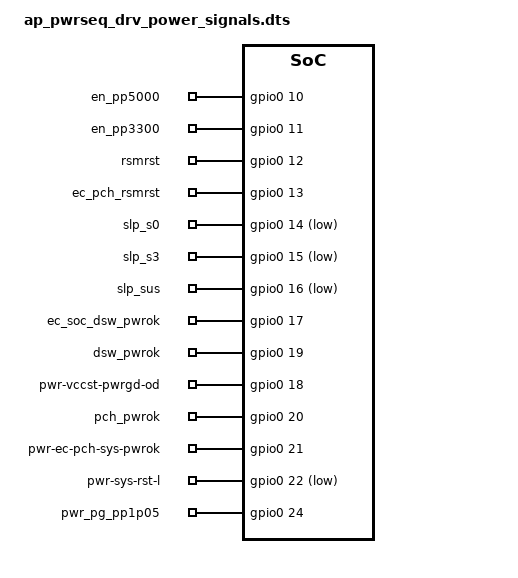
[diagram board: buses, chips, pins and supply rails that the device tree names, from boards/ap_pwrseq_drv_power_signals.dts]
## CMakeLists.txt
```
# Copyright 2025 The ChromiumOS Authors
# Use of this source code is governed by a BSD-style license that can be
# found in the LICENSE file.

cmake_minimum_required(VERSION 3.13.1)
find_package(Zephyr REQUIRED HINTS "${ZEPHYR_BASE}")
project(dirks)

add_subdirectory(${PLATFORM_EC}/zephyr/test/test_utils test_utils)

zephyr_include_directories(
        "${PLATFORM_EC_PROGRAM_DIR}/dirks/include"
        include)

target_sources(app PRIVATE src/stubs.c)

if(CONFIG_TEST_DIRKS_BOARD_POWER)
    # Test source
    if(CONFIG_AP_PWRSEQ_DRIVER)
        target_sources(app PRIVATE src/board_ap_pwrseq_drv.c)
    else()
        target_sources(app PRIVATE src/board_power.c)
    endif()
    # Module under test
    target_sources(app PRIVATE ${PLATFORM_EC_PROGRAM_DIR}/dirks/src/board_power.c)
endif()

target_sources_ifdef(
        CONFIG_TEST_DIRKS_SUB_BOARD
        app PRIVATE
        src/sub_board.c
        src/log_module.c
        ${PLATFORM_EC_PROGRAM_DIR}/dirks/src/sub_board.c)

target_sources_ifdef(
        CONFIG_TEST_DIRKS_COMMON
        app PRIVATE
        src/common.c
        ${PLATFORM_EC_PROGRAM_DIR}/dirks/src/common.c)

if(CONFIG_TEST_DIRKS_DIRKS)
    zephyr_include_directories("${PLATFORM_EC_PROGRAM_DIR}/dirks/dirks/include")
    target_sources(
            app PRIVATE
            src/dirks.c
            ${PLATFORM_EC_PROGRAM_DIR}/dirks/dirks/src/barrel_jack.c
            ${PLATFORM_EC_PROGRAM_DIR}/dirks/dirks/src/led.c
            ${PLATFORM_EC_PROGRAM_DIR}/dirks/dirks/src/hdmi.c
            ${PLATFORM_EC_PROGRAM_DIR}/dirks/dirks/src/usbc.c
    )
endif()
```

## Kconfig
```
# Copyright 2025 The ChromiumOS Authors
# Use of this source code is governed by a BSD-style license that can be
# found in the LICENSE file.

choice TEST_TARGET
	prompt "Select test target to build"
	help
	  Select the build target for a given test. Each test target must select
	  exactly one, because some tests assume configuration that conflicts with
	  others.

	config TEST_DIRKS_SUB_BOARD
		bool "Tests for sub_board.c"
		help
		  The test target that exercises dirks/src/sub_board.c.

	config TEST_DIRKS_BOARD_POWER
		bool "Tests for board_power.c"
		help
		  The test target that exercises dirks/src/board_power.c

	config TEST_DIRKS_COMMON
		bool "Tests for common.c"
		help
		  The test target that exercises dirks/src/common.c.

	config TEST_DIRKS_DIRKS
	  bool "Tests for Dirks-specific code"
	  select TEST_DISABLE_INLINE_CHIPSET_IN_STATE
	  help
		The test target that exercises dirks/dirks/*.c
endchoice

config TEST_DISABLE_INLINE_CHIPSET_IN_STATE
	bool "Disable chipset_in_state inline method"
	help
	  This is used to not define chipset_in_state method as inline
	  function.

config DIRKS_BOARD_HAS_HDMI_SUPPORT
	bool "Board supports HDMI sub-boards"
	help
	  Enable board code for managing the state of hdmi connections
	  for dirks/src/sub_board.c.

config PLATFORM_EC_KEYBOARD_CUSTOMIZATION
	bool "Support keyboard customization"
	help
	  Enable support for customization keyboard, some boards need to custom matrix
	  because those board keyboard layout doesn't follow a common matrix.

	  If define, the board layer
	  needs to implement:
	  1. the scancode_set2 and keycap_label array
	  2. keyboard_customization.h which is similar to keyboard_config.h

	  Note that if your board has the standard chromeos keyboard layout other
	  than the top row, and you are looking only for top row customization,
	  then you should be looking at overriding board_vivaldi_keybd_config()
	  instead.

config PLATFORM_EC_KEYBOARD_DEBUG
	bool "Enable keyboard debug prints"
	help
	  Enable keyboard debug prints to show up in early bringup, for example
	  if the board is currently headless and keyboard functionality is being
	  checked.

config TEST_DISABLE_AP_PWRSEQ
	bool "Disable CONFIG_AP_PWRSEQ"
	default n
	help
	  This is used to disable CONFIG_AP_PWRSEQ for testing purposes
	  directly.

config PLATFORM_EC_DEDICATED_CHARGE_PORT
	bool "Dedicated charging port"
	help
	  Enable if there is a dedicated charging port on the system.

module = DIRKS
module-str = Dirks board-specific code (unit tests)
source "subsys/logging/Kconfig.template.log_config"

source "Kconfig.zephyr"
```

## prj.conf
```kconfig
# Copyright 2025 The ChromiumOS Authors
# Use of this source code is governed by a BSD-style license that can be
# found in the LICENSE file.

CONFIG_ZTEST=y
CONFIG_ZTEST_ASSERT_VERBOSE=1
CONFIG_ASSERT=y
CONFIG_EMUL=y

CONFIG_CROS_EC=y
CONFIG_PLATFORM_EC=y

# Configuration used for Dirks boards, with some items that aren't relevant
# disabled so they don't depend on us defining items they want.
CONFIG_PLATFORM_EC_USBC=y
CONFIG_PLATFORM_EC_USBC_PPC=n
CONFIG_PLATFORM_EC_USB_MUX_RUNTIME_CONFIG=y
CONFIG_PLATFORM_EC_USB_PD_DISCHARGE=n
CONFIG_PLATFORM_EC_USB_CHARGER=n
CONFIG_PLATFORM_EC_USB_PD_HOST_CMD=n
CONFIG_PLATFORM_EC_USB_PORT_ENABLE_DYNAMIC=y
CONFIG_PLATFORM_EC_SWITCH=n

# Allow the test fixture to use k_malloc
CONFIG_HEAP_MEM_POOL_SIZE=1024

CONFIG_GPIO_GET_CONFIG=y

CONFIG_ISL923X_MOCK=y
```

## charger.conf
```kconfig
# Copyright 2025 The ChromiumOS Authors
# Use of this source code is governed by a BSD-style license that can be
# found in the LICENSE file.

# Additional configuration for emulated Dirks boards where tests require
# charger-related code.

CONFIG_PLATFORM_EC_HOSTCMD=y
CONFIG_PLATFORM_EC_CHARGER=y
CONFIG_PLATFORM_EC_OCPC=y
CONFIG_PLATFORM_EC_CHARGER_SM5803=y
CONFIG_PLATFORM_EC_CHARGER_RAA489000=y
CONFIG_PLATFORM_EC_CHARGER_SENSE_RESISTOR=10
CONFIG_PLATFORM_EC_CHARGER_SENSE_RESISTOR_AC=10
CONFIG_PLATFORM_EC_OCPC_DEF_RBATT_MOHMS=22
CONFIG_PLATFORM_EC_CONSOLE_CMD_CHARGER_ADC_AMON_BMON=n
CONFIG_PLATFORM_EC_USB_PD_VBUS_MEASURE_CHARGER=y
CONFIG_PLATFORM_EC_BACKLIGHT_LID=n
CONFIG_PLATFORM_EC_BATTERY_FUEL_GAUGE=y
# charger_get_system_power() in RAA489000 driver
CONFIG_PLATFORM_EC_CHARGER_PSYS_READ=n
CONFIG_PLATFORM_EC_USB_PD_MAX_VOLTAGE_MV=15000
CONFIG_PLATFORM_EC_VBOOT_HASH=n
```

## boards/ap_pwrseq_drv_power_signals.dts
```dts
/* Copyright 2025 The ChromiumOS Authors
 * Use of this source code is governed by a BSD-style license that can be
 * found in the LICENSE file.
 */

/ {
	common-pwrseq {
		compatible = "intel,ap-pwrseq";

		sys-pwrok-delay = <10>;
		all-sys-pwrgd-timeout = <20>;
	};

	named-gpios {
		compatible = "named-gpios";
		gpio_all_sys_pwrgd: all_sys_pwrgd {
			gpios = <&gpioa 3 GPIO_INPUT>;
		};
	};
	en_pp5000: pwr-en-pp5000-s5 {
		compatible = "intel,ap-pwrseq-gpio";
		dbg-label = "PP5000_S5 enable output to regulator";
		enum-name = "PWR_EN_PP5000_A";
		gpios = <&gpio0 10 0>;
		output;
	};
	en_pp3300: pwr-en-pp3300-s5 {
		compatible = "intel,ap-pwrseq-gpio";
		dbg-label = "PP3300_S5 enable output to LS";
		enum-name = "PWR_EN_PP3300_A";
		gpios = <&gpio0 11 0>;
		output;
	};
	rsmrst: pwr-pg-ec-rsmrst-odl {
		compatible = "intel,ap-pwrseq-gpio";
		dbg-label = "RSMRST power good from regulator";
		enum-name = "PWR_RSMRST_PWRGD";
		gpios = <&gpio0 12 0>;
	};
	ec_pch_rsmrst: pwr-ec-pch-rsmrst-odl {
		compatible = "intel,ap-pwrseq-gpio";
		dbg-label = "RSMRST output to PCH";
		enum-name = "PWR_EC_PCH_RSMRST";
		gpios = <&gpio0 13 0>;
		output;
	};
	slp_s0: pwr-slp-s0-l {
		compatible = "intel,ap-pwrseq-gpio";
		dbg-label = "SLP_S0_L input from PCH";
		enum-name = "PWR_SLP_S0";
		gpios = <&gpio0 14 GPIO_ACTIVE_LOW>;
		no-enable;
	};
	slp_s3: pwr-slp-s3-l {
		compatible = "intel,ap-pwrseq-gpio";
		dbg-label = "SLP_S3_L input from PCH";
		enum-name = "PWR_SLP_S3";
		gpios = <&gpio0 15 GPIO_ACTIVE_LOW>;
	};
	slp_sus: pwr-slp-sus-l {
		compatible = "intel,ap-pwrseq-gpio";
		dbg-label = "SLP_SUS_L input from PCH";
		enum-name = "PWR_SLP_SUS";
		gpios = <&gpio0 16 GPIO_ACTIVE_LOW>;
	};
	ec_soc_dsw_pwrok: pwr-ec-soc-dsw-pwrok {
		compatible = "intel,ap-pwrseq-gpio";
		dbg-label = "DSW_PWROK output to PCH";
		enum-name = "PWR_EC_SOC_DSW_PWROK";
		gpios = <&gpio0 17 0>;
		output;
	};
	dsw_pwrok: pwr-pp3300-pwrok {
		compatible = "intel,ap-pwrseq-gpio";
		dbg-label = "PP3300 PWROK";
		enum-name = "PWR_DSW_PWROK";
		gpios = <&gpio0 19 0>;
	};
	pwr-vccst-pwrgd-od {
		compatible = "intel,ap-pwrseq-gpio";
		dbg-label = "VCCST_PWRGD output to PCH";
		enum-name = "PWR_VCCST_PWRGD";
		gpios = <&gpio0 18 0>;
		output;
	};
	pch_pwrok: pwr-pch-pwrok {
		compatible = "intel,ap-pwrseq-gpio";
		dbg-label = "PCH_PWROK output to PCH";
		enum-name = "PWR_PCH_PWROK";
		gpios = <&gpio0 20 0>;
		output;
	};
	pwr-ec-pch-sys-pwrok {
		compatible = "intel,ap-pwrseq-gpio";
		dbg-label = "SYS_PWROK output to PCH";
		enum-name = "PWR_EC_PCH_SYS_PWROK";
		gpios = <&gpio0 21 0>;
		output;
	};
	pwr-sys-rst-l {
		compatible = "intel,ap-pwrseq-gpio";
		dbg-label = "SYS_RESET# output to PCH";
		enum-name = "PWR_SYS_RST";
		gpios = <&gpio0 22 GPIO_ACTIVE_LOW>;
		output;
	};
	pwr-all-sys-pwrgd {
		compatible = "intel,ap-pwrseq-external";
		dbg-label = "Combined all power good";
		enum-name = "PWR_ALL_SYS_PWRGD";
	};
	pwr_pg_pp1p05: pwr-pg-pp1p05 {
		compatible = "intel,ap-pwrseq-gpio";
		dbg-label = "PP1P05 PWROK (from ADC)";
		enum-name = "PWR_PG_PP1P05";
		gpios = <&gpio0 24 GPIO_ACTIVE_HIGH>;
	};
	ec_soc_dsw_pwrok_emul_pd: ec-soc-dsw-pwrok-emul-pd {
		compatible = "intel,ap-pwr-signal-emul";
		input-signal = <&ec_soc_dsw_pwrok>;
		init-value = <1>;
		ec-dsw-pwrok-slp-sus-emul {
			output-signal = <&slp_sus>;
			deassert-delay-ms = <5>;
			init-value= <0>;
			invert-value;
		};
	};
	ec_pch_rsmrst_emul_pd: ec-pch-rsmrst-emul-pd {
		compatible = "intel,ap-pwr-signal-emul";
		input-signal = <&ec_pch_rsmrst>;
		init-value = <0>;
		ec-pch-rsmrst-emul {
			output-signal = <&rsmrst>;
			deassert-delay-ms = <5>;
			init-value= <1>;
			invert-value;
		};
	};
	en_pp3300_emul_pd: en-pp3300-emul-pd {
		compatible = "intel,ap-pwr-signal-emul";
		input-signal = <&en_pp3300>;
		init-value = <1>;
		pp3300-dsw-pwrok-emul {
			output-signal = <&dsw_pwrok>;
			deassert-delay-ms = <2>;
			init-value= <1>;
		};
	};
	tp-power-down-ok {
		compatible = "intel,ap-pwr-test-platform";
		nodes = <&ec_soc_dsw_pwrok_emul_pd &ec_pch_rsmrst_emul_pd
				&en_pp3300_emul_pd>;
	};
	en_pp3300_emul_ok: en-pp3300-emul-ok {
		compatible = "intel,ap-pwr-signal-emul";
		input-signal = <&en_pp3300>;
		init-value = <0>;
		pp3300-dsw-pwrok-emul {
			output-signal = <&dsw_pwrok>;
			assert-delay-ms = <10>;
			init-value= <0>;
		};
	};
	tp-power-up-ok {
		compatible = "intel,ap-pwr-test-platform";
		nodes = <&en_pp3300_emul_ok>;
	};
	en_pp3300_emul_fail: en-pp3300-emul-fail {
		compatible = "intel,ap-pwr-signal-emul";
		input-signal = <&en_pp3300>;
		init-value = <0>;
		pp3300-dsw-pwrok-emul {
			output-signal = <&dsw_pwrok>;
			assert-delay-ms = <30000>;
			init-value= <0>;
		};
	};
	tp-power-up-fail {
		compatible = "intel,ap-pwr-test-platform";
		nodes = <&en_pp3300_emul_fail>;
	};
	ec_soc_dsw_pwrok_g3_emul: ec-soc-dsw-prok-g3-emul {
		compatible = "intel,ap-pwr-signal-emul";
		input-signal = <&ec_soc_dsw_pwrok>;
		init-value= <1>;
		edge = "EDGE_ACTIVE_ON_DEASSERT";
		ec-soc-dsw-prok-dsw-pwrok-emul {
			output-signal = <&dsw_pwrok>;
			init-value= <1>;
			deassert-delay-ms = <2>;
		};
		ec-soc-dsw-prok-rsmrst-emul {
			output-signal = <&rsmrst>;
			init-value= <1>;
			deassert-delay-ms = <1>;
		};
		ec-soc-dsw-prok-slp-sus-emul {
			output-signal = <&slp_sus>;
			init-value= <0>;
			invert-value;
			deassert-delay-ms = <1>;
		};
	};
	tp-s0-to-g3 {
		compatible = "intel,ap-pwr-test-platform";
		nodes = <&ec_soc_dsw_pwrok_g3_emul>;
	};
	ap-power {
		compatible = "ap-pwrseq-sub-states";
		chipset = "AP_POWER_STATE_S0IX";
	};
	gpio-interrupts {
		/delete-node/ int_usb_c0;
		/delete-node/ int_usb_c1;
	};
};

&gpio0 {
	ngpios = <28>;
};
```

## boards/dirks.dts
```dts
/* Copyright 2023 The ChromiumOS Authors
 * Use of this source code is governed by a BSD-style license that can be
 * found in the LICENSE file.
 */
 
#include <dt-bindings/pwm/pwm.h>
#include <it8xxx2_emul.dts>

/ {
	named-adc-channels {
		compatible = "named-adc-channels";

		adc_ppvar_pwr_in_imon: ppvar_pwr_in_imon {
			enum-name = "ADC_PPVAR_PWR_IN_IMON";
			io-channels = <&adc0 15>;
		};
	};

	named-gpios {
		compatible = "named-gpios";

		gpio_ec_entering_rw: ec_entering_rw {
			gpios = <&gpioc 7 GPIO_OUTPUT>;
			enum-name = "GPIO_ENTERING_RW";
		};
		gpio_usb_c0_fault_l: usb_c0_fault_l {
			gpios = <&gpiok 0 GPIO_INPUT_PULL_UP>;
		};
		gpio_bj_adp_present: bj_adp_present {
			gpios = <&gpioa 7 GPIO_INPUT>;
		};
		gpio_en_ppvar_bj_adp_od: en_ppvar_bj_adp_od {
			gpios = <&gpioe 3 GPIO_OUTPUT>;
		};
	};

	gpio-interrupts {
		compatible = "cros-ec,gpio-interrupts";

		int_usb_c0: usb_c0 {
			irq-pin = <&gpio_usb_c0_fault_l>;
			flags = <GPIO_INT_EDGE_FALLING>;
			handler = "syv682x_interrupt";
		};
		int_bj_adp_present: bj_adp_present {
			irq-pin = <&gpio_bj_adp_present>;
			flags = <GPIO_INT_EDGE_BOTH>;
			handler = "adp_connect_interrupt";
		};
	};


	named-i2c-ports {
		compatible = "named-i2c-ports";

		i2c_ec_i2c_usb_c0: ec_i2c_usb_c0 {
			i2c-port = <&i2c2>;
			enum-names = "I2C_PORT_USB_C0";
		};
	};

	usbc {
		#address-cells = <1>;
		#size-cells = <0>;
		port0@0 {
			compatible = "named-usbc-port";
			reg = <0>;
			tcpc = <&tcpci_emul_0>;
			usb-mux-chain-0 {
				compatible = "cros-ec,usb-mux-chain";
				usb-muxes = <&virtual_mux_0>;
			};
		};
		port0-muxes {
			virtual_mux_0: virtual-mux-0 {
				compatible = "cros-ec,usbc-mux-virtual";
			};
		};
	};

	led-pwms {
		#address-cells = <1>;
		#size-cells = <1>;

		pwm1: pwm@1 {
			compatible = "cros,pwm-mock";
			reg = <1 1>;
			#pwm-cells = <3>;
		};
		pwm2: pwm@2 {
			compatible = "cros,pwm-mock";
			reg = <2 1>;
			#pwm-cells = <3>;
		};
	};

	pwmleds {
		compatible = "pwm-leds";
		pwm_pwr_red_led: pwm_pwr_red_led {
			pwms = <&pwm1 1 PWM_HZ(2000) PWM_POLARITY_INVERTED>;
		};
		pwm_pwr_white_led: pwm_pwr_white_led {
			pwms = <&pwm2 2 PWM_HZ(2000) PWM_POLARITY_INVERTED>;
		};
	};

	cros-pwmleds {
		compatible = "cros-ec,pwm-leds";

		leds = <&pwm_pwr_red_led>;
		leds = <&pwm_pwr_white_led>;
	};

	pwm-led-pins {
		compatible = "cros-ec,pwm-led-pins";

		power_led: power-led {
			led-id = "EC_LED_ID_POWER_LED";
			led-pwms = <&pwm_pwr_red_led &pwm_pwr_white_led>;

			color-battery-off {
				led-color = "LED_OFF";
				led-values = <0 0>;
			};

			color-battery-amber {
				led-color = "LED_AMBER";
				led-values = <100 0>;
			};

			color-battery-white {
				led-color = "LED_WHITE";
				led-values = <0 100>;
			};
		};
	};
};

&i2c4 {
	tcpci_emul_0: tcpci_emul@82 {
		compatible = "cros,tcpci-generic-emul";
		status = "okay";
		reg = <0x82>;
	};
};
```

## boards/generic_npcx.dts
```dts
/* Copyright 2025 The ChromiumOS Authors
 * Use of this source code is governed by a BSD-style license that can be
 * found in the LICENSE file.
 *
 * Device tree for a generic Nissa device based on a NPCX EC, suitable for board
 * unit tests.
 */
#include <npcx_emul.dts>
#include "../program/dirks/cbi.dtsi"

/ {
	aliases {
		/* type-C */
		gpio-usb-c1-int-odl = &gpio_sb_1;
		/* type-A */
		gpio-en-usb-a1-vbus = &gpio_sb_2;
		/* HDMI */
		gpio-en-rails-odl = &gpio_sb_1;
		gpio-hdmi-en-odl = &gpio_sb_3;
		gpio-hpd-odl = &gpio_sb_4;
		/* LTE */
		gpio-en-sub-s5-rails = &gpio_sb_2;

		gpio-wp = &gpio_ec_wp_odl;
	};

	gpio-interrupts {
		compatible = "cros-ec,gpio-interrupts";

		int_usb_c0: usb_c0 {
			irq-pin = <&gpio_usb_c0_int_odl>;
			flags = <GPIO_INT_EDGE_FALLING>;
			handler = "usb_interrupt_c0";
		};

		int_usb_c1: usb_c1 {
			irq-pin = <&gpio_sb_1>;
			flags = <GPIO_INT_EDGE_FALLING>;
			handler = "usb_interrupt_c1";
		};
	};

	named-gpios {
		compatible = "named-gpios";

		gpio_ec_soc_dsw_pwrok: ec_soc_dsw_pwrok {
			gpios = <&gpio6 1 GPIO_OUTPUT>;
		};

		gpio_ec_soc_hdmi_hpd: ec_soc_hdmi_hpd {
			gpios = <&gpioe 4 GPIO_OUTPUT>;
		};

		gpio_ec_wp_odl: ec_wp_odl {
			gpios = <&gpioa 1 (GPIO_INPUT | GPIO_ACTIVE_LOW)>;
		};

		entering_rw {
			gpios = <&gpio0 3 GPIO_OUTPUT>;
			enum-name = "GPIO_ENTERING_RW";
		};

		gpio_en_pp5000_pen_x: en_pp5000_pen_x {
			gpios = <&gpioe 2 GPIO_OUTPUT>;
		};

		gpio_en_slp_z: en_slp_z {
			gpios = <&gpioe 1 GPIO_OUTPUT>;
		};

		gpio_hdmi_sel: hdmi_sel {
			gpios = <&gpioc 6 GPIO_OUTPUT>;
		};

		gpio_usb_a0_enable: usb_a0_enable {
			gpios = <&gpio1 0 GPIO_OUTPUT>;
		};

		gpio_usb_a0_ilimit_sdp: usb_a0_ilimit_sdp {
			gpios = <&gpio1 2 GPIO_OUTPUT>;
			enum-name = "GPIO_USB1_ILIM_SEL";
		};

		gpio_sub_usb_a1_ilimit_sdp: usb_a1_ilimit_sdp {
			gpios = <&gpio1 3 GPIO_OUTPUT>;
			enum-name = "GPIO_USB2_ILIM_SEL";
		};

		gpio_usb_c0_int_odl: usb_c0_int_odl {
			gpios = <&gpio0 1 GPIO_INPUT_PULL_UP>;
		};

		gpio_sb_1: sb-1 {
			gpios = <&gpio0 2 GPIO_PULL_UP>;
			no-auto-init;
		};

		gpio_sb_2: sb-2 {
			gpios = <&gpiod 4 GPIO_OUTPUT>;
			no-auto-init;
		};

		gpio_sb_3: sb-3 {
			gpios = <&gpiof 4 0>;
			no-auto-init;
		};

		gpio_sb_4: sb-4 {
			gpios = <&gpiof 5 GPIO_INPUT>;
			no-auto-init;
		};
	};

	named-i2c-ports {
		compatible = "named-i2c-ports";
		i2c_ec_i2c_usb_c0: ec_i2c_usb_c0 {
			i2c-port = <&i2c_ctrl0>;
			enum-names = "I2C_PORT_USB_C0_TCPC";
		};
		i2c_ec_i2c_sub_usb_c1: ec_i2c_sub_usb_c1 {
			i2c-port = <&i2c_ctrl1>;
			enum-names = "I2C_PORT_USB_C1_TCPC";
		};
	};

	usba {
		compatible = "cros-ec,usba-port-enable-pins";
		enable-pins = <&gpio_usb_a0_enable &gpio_sb_2>;
		status = "okay";
	};

	usbc {
		#address-cells = <1>;
		#size-cells = <0>;
		port0@0 {
			compatible = "named-usbc-port";
			reg = <0>;
			tcpc = <&tcpc_port0>;
			usb-mux-chain-0 {
				compatible = "cros-ec,usb-mux-chain";
				usb-muxes = <&virtual_mux_0>;
			};
		};
		port1@1 {
			compatible = "named-usbc-port";
			reg = <1>;
			tcpc = <&tcpc_port1>;
			usb-mux-chain-1 {
				compatible = "cros-ec,usb-mux-chain";
				usb-muxes = <&virtual_mux_1>;
			};
			usb_mux_chain_1_no_mux: usb-mux-chain-1-alternate {
				compatible = "cros-ec,usb-mux-chain";
				alternative-chain;
				usb-muxes = <&virtual_mux_1>;
			};
		};
		port0-muxes {
			virtual_mux_0: virtual-mux-0 {
				compatible = "cros-ec,usbc-mux-virtual";
			};
		};
		port1-muxes {
			virtual_mux_1: virtual-mux-1 {
				compatible = "cros-ec,usbc-mux-virtual";
			};
		};
	};
};

&i2c_ctrl0 {
	tcpc_port0: tcpci_emul@82 {
		compatible = "cros,tcpci-generic-emul";
		status = "okay";
		reg = <0x82>;
	};
};

&i2c_ctrl1 {
	tcpc_port1: tcpci_emul@84 {
		compatible = "cros,tcpci-generic-emul";
		status = "okay";
		reg = <0x84>;
	};
};
```

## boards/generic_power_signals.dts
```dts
/* Copyright 2025 The ChromiumOS Authors
 * Use of this source code is governed by a BSD-style license that can be
 * found in the LICENSE file.
 */

/ {
	gpio-interrupts {
	  /*
	   * GPIO interrupt shim fails to build if this node exists but has no
	   * interrupts, and this test doesn't use any GPIO interrupts.
	   */
	  status = "disabled";
	};

	/* A fake GPIO bank for all of the power signals. */
	gpio_pwr: gpio@1000 {
		status = "okay";
		compatible = "zephyr,gpio-emul";
		reg = <0x1000 0x4>;
		rising-edge;
		falling-edge;
		high-level;
		low-level;
		gpio-controller;
		#gpio-cells = <2>;
		ngpios = <32>;
	};

	named-gpios {
		gpio_all_sys_pwrgd: all_sys_pwrgd {
			gpios = <&gpioa 7 GPIO_INPUT>;
		};
		gpio_ec_soc_pwr_btn_odl: ec_soc_pwr_btn_odl {
			gpios = <&gpioc 1 GPIO_ODR_HIGH>;
			enum-name = "GPIO_PCH_PWRBTN_L";
		};
		gpio_gsc_ec_pwr_btn_odl: gsc_ec_pwr_btn_odl {
			gpios = <&gpio0 0 GPIO_INPUT_PULL_UP>;
			enum-name = "GPIO_POWER_BUTTON_L";
		};
	};

	common-pwrseq {
		compatible = "intel,ap-pwrseq";

		sys-pwrok-delay = <10>;
		all-sys-pwrgd-timeout = <20>;
	};

	ps_en_pp5000_s5: pwr-en-pp5000-s5 {
		compatible = "intel,ap-pwrseq-external";
		dbg-label = "PP5000_S5 enable output to regulator";
		enum-name = "PWR_EN_PP5000_A";
	};
	pwr-adc-pp3300 {
		compatible = "intel,ap-pwrseq-external";
		dbg-label = "PP3300 PWROK";
		enum-name = "PWR_DSW_PWROK";
	};
	ps_ec_soc_dsw_pwrok: pwr-ec-soc-dsw-pwrok {
		compatible = "intel,ap-pwrseq-external";
		dbg-label = "DSW_PWROK output to PCH";
		enum-name = "PWR_EC_SOC_DSW_PWROK";
	};
	pwr-adc-pp1p05 {
		compatible = "intel,ap-pwrseq-external";
		dbg-label = "PP1P05 PWROK";
		enum-name = "PWR_PG_PP1P05";
	};
	pwr-ec-pch-rsmrst-odl {
		compatible = "intel,ap-pwrseq-external";
		dbg-label = "RSMRST output to PCH";
		enum-name = "PWR_EC_PCH_RSMRST";
	};
	ps_rsmrst_in: pwr-pg-ec-rsmrst-od {
		compatible = "intel,ap-pwrseq-external";
		dbg-label = "RSMRST power good from regulator";
		enum-name = "PWR_RSMRST_PWRGD";
	};
	pwr-slp-s3-l {
		compatible = "intel,ap-pwrseq-external";
		dbg-label = "SLP_S3_L input from PCH";
		enum-name = "PWR_SLP_S3";
	};
	pwr-slp-sus-l {
		compatible = "intel,ap-pwrseq-external";
		dbg-label = "SLP_SUS_L input from PCH";
		enum-name = "PWR_SLP_SUS";
	};
	ps_en_pp3300_a: pwr-en-pp3300-s5 {
		compatible = "intel,ap-pwrseq-external";
		dbg-label = "PP3300_S5 enable output to LS";
		enum-name = "PWR_EN_PP3300_A";
	};
	pwr-pch-pwrok {
		compatible = "intel,ap-pwrseq-external";
		dbg-label = "PCH_PWROK output to PCH";
		enum-name = "PWR_PCH_PWROK";
	};
	pwr-all-sys-pwrgd {
		compatible = "intel,ap-pwrseq-external";
		dbg-label = "Combined all power good";
		enum-name = "PWR_ALL_SYS_PWRGD";
	};
};

&int_usb_c0 {
	status = "disabled";
};

&int_usb_c1 {
	status = "disabled";
};
```

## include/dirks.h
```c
/* Copyright 2025 The ChromiumOS Authors
 * Use of this source code is governed by a BSD-style license that can be
 * found in the LICENSE file.
 */

#ifndef ZEPHYR_TEST_DIRKS_INCLUDE_DIRKS_H_
#define ZEPHYR_TEST_DIRKS_INCLUDE_DIRKS_H_

#include "ec_commands.h"

enum led_color {
	LED_OFF = 0,
	LED_WHITE,
	LED_RED,
	/* Number of colors, not a color itself */
	LED_COLOR_COUNT
};

int command_led(int argc, const char **argv);
void board_bj_init(void);

#endif /* ZEPHYR_TEST_DIRKS_INCLUDE_DIRKS_H_ */
```

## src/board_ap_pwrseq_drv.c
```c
/* Copyright 2025 The ChromiumOS Authors
 * Use of this source code is governed by a BSD-style license that can be
 * found in the LICENSE file.
 *
 * AP Power sequence driver unit tests for program/dirks/src/board_power.c.
 * Dirks only has action handlers for power state G3 and S0.
 */
#include "ap_power/ap_power.h"
#include "emul/emul_power_signals.h"

#include <zephyr/drivers/gpio/gpio_emul.h>
#include <zephyr/ztest.h>

#include <ap_power/ap_pwrseq_sm.h>
#include <ap_power_override_functions.h>
#include <common.h>
#include <power_signals.h>

int chipset_s0_run_count;

static void setup_test(void *fixture)
{
	power_signal_init();
}

static void after_test(void *fixture)
{
	power_signal_emul_unload();
	chipset_s0_run_count = 0;
}

ZTEST_SUITE(dirks_board_power, NULL, setup_test, NULL, after_test, NULL);

/*
 * @brief TestPurpose: Check G3 power state entry.
 *
 * @details
 * Ensure that AP power sequence driver is not initialized until
 * `ap_pwrseq_start` is called and G3 entry sets power signals properly.
 *
 * Expected Results:
 * - AP power sequence driver is not started.
 * - `ap_pwrseq_start` starts AP power sequence driver.
 * - G3 action handler is called and power signals are set as expected.
 */
ZTEST(dirks_board_power, test_board_ap_power_g3_run_0)
{
	const struct device *dev = ap_pwrseq_get_instance();

	zassert_equal(0,
		      power_signal_emul_load(EMUL_POWER_SIGNAL_TEST_PLATFORM(
			      tp_power_down_ok)),
		      "Unable to load test platform `tp_power_down_ok`");
	zassert_equal(0, power_signal_get(PWR_SLP_SUS));
	zassert_equal(1, power_signal_get(PWR_RSMRST_PWRGD));
	zassert_equal(1, power_signal_get(PWR_EN_PP3300_A));
	zassert_equal(1, power_signal_get(PWR_EC_SOC_DSW_PWROK));
	zassert_equal(0, power_signal_get(PWR_EC_PCH_RSMRST));
	zassert_ok(ap_pwrseq_start(dev, AP_POWER_STATE_G3),
		   "Driver already initialized");
	zassert_equal(1, power_signal_get(PWR_SLP_SUS));
	zassert_equal(0, power_signal_get(PWR_RSMRST_PWRGD));
	zassert_equal(0, power_signal_get(PWR_EN_PP3300_A));
	zassert_equal(0, power_signal_get(PWR_EC_SOC_DSW_PWROK));
	zassert_equal(1, power_signal_get(PWR_EC_PCH_RSMRST));
}

/*
 * @brief TestPurpose: Check G3 power handler response.
 *
 * @details
 * G3 action handler does not respond to `AP_PWRSEQ_EVENT_POWER_SIGNAL` event.
 *
 * Expected Results:
 * - Current power state is G3.
 * - G3 action handler does not modify power signals when event
 * `AP_PWRSEQ_EVENT_POWER_SIGNAL` is posted.
 */
ZTEST(dirks_board_power, test_board_ap_power_g3_run_1)
{
	const struct device *dev = ap_pwrseq_get_instance();

	zassert_equal(0,
		      power_signal_emul_load(
			      EMUL_POWER_SIGNAL_TEST_PLATFORM(tp_power_up_ok)),
		      "Unable to load test platform `tp_power_up_ok`");

	zassert_equal(ap_pwrseq_get_current_state(dev), AP_POWER_STATE_G3);
	zassert_equal(0, power_signal_get(PWR_EN_PP3300_A));
	zassert_equal(0, power_signal_get(PWR_EN_PP5000_A));
	zassert_equal(0, power_signal_get(PWR_DSW_PWROK));
	ap_pwrseq_post_event(dev, AP_PWRSEQ_EVENT_POWER_SIGNAL);
	zassert_equal(ap_pwrseq_get_current_state(dev), AP_POWER_STATE_G3);
	zassert_equal(0, power_signal_get(PWR_EN_PP3300_A));
	zassert_equal(0, power_signal_get(PWR_EN_PP5000_A));
	zassert_equal(0, power_signal_get(PWR_DSW_PWROK));
}

/*
 * @brief TestPurpose: Check G3 power handler response.
 *
 * @details
 * G3 action handler set power signals when `AP_PWRSEQ_EVENT_POWER_STARTUP`
 * event is posted.
 *
 * Expected Results:
 * - Current power state is G3.
 * - G3 action handler sets power signals properly when event
 * `AP_PWRSEQ_EVENT_POWER_STARTUP` is posted.
 */
ZTEST(dirks_board_power, test_board_ap_power_g3_run_2)
{
	const struct device *dev = ap_pwrseq_get_instance();

	zassert_equal(0,
		      power_signal_emul_load(EMUL_POWER_SIGNAL_TEST_PLATFORM(
			      tp_power_up_fail)),
		      "Unable to load test platform `tp_power_up_fail`");

	zassert_equal(ap_pwrseq_get_current_state(dev), AP_POWER_STATE_G3);
	zassert_equal(0, power_signal_get(PWR_EN_PP3300_A));
	zassert_equal(0, power_signal_get(PWR_EN_PP5000_A));
	zassert_equal(0, power_signal_get(PWR_DSW_PWROK));
	ap_pwrseq_post_event(dev, AP_PWRSEQ_EVENT_POWER_STARTUP);
	zassert_equal(1, power_signal_get(PWR_EN_PP3300_A));
	zassert_equal(1, power_signal_get(PWR_EN_PP5000_A));
	zassert_equal(0, power_signal_get(PWR_DSW_PWROK));
	zassert_equal(ap_pwrseq_get_current_state(dev), AP_POWER_STATE_G3);
}

/*
 * @brief TestPurpose: Check G3 power handler response.
 *
 * @details
 * G3 action handler set power signals when `AP_PWRSEQ_EVENT_POWER_STARTUP`
 * event is posted.
 *
 * Expected Results:
 * - Current power state is G3.
 * - G3 action handler sets power signals properly when event
 * `AP_PWRSEQ_EVENT_POWER_STARTUP` is posted.
 * - G3 action handler verifies power signals are set.
 */
ZTEST(dirks_board_power, test_board_ap_power_g3_run_3)
{
	const struct device *dev = ap_pwrseq_get_instance();

	zassert_equal(0,
		      power_signal_emul_load(
			      EMUL_POWER_SIGNAL_TEST_PLATFORM(tp_power_up_ok)),
		      "Unable to load test platform `tp_power_up_ok`");

	zassert_equal(ap_pwrseq_get_current_state(dev), AP_POWER_STATE_G3);
	zassert_equal(0, power_signal_get(PWR_EN_PP3300_A));
	zassert_equal(0, power_signal_get(PWR_DSW_PWROK));
	ap_pwrseq_post_event(dev, AP_PWRSEQ_EVENT_POWER_STARTUP);
	zassert_equal(1, power_signal_get(PWR_EN_PP3300_A));
	zassert_equal(1, power_signal_get(PWR_DSW_PWROK));
	zassert_equal(ap_pwrseq_get_current_state(dev), AP_POWER_STATE_S3);
}

/*
 * @brief TestPurpose: Check S0 power handler response.
 *
 * @details
 * Since S0 action handler for Dirks does notdo any power signal check, this
 * test will only check G3 entry.
 *
 * Expected Results:
 * - Current power state is S3.
 * - S0 action handler is called.
 * - G3 action handler entry sets power signals properly when event
 * `AP_PWRSEQ_EVENT_POWER_SHUTDOWN` is posted.
 * - G3 action handler verifies power signals are set.
 */
ZTEST(dirks_board_power, test_board_ap_power_s0_run_0)
{
	const struct device *dev = ap_pwrseq_get_instance();

	zassert_equal(0,
		      power_signal_emul_load(
			      EMUL_POWER_SIGNAL_TEST_PLATFORM(tp_s0_to_g3)),
		      "Unable to load test platform `tp_s0_to_s3`");

	zassert_equal(ap_pwrseq_get_current_state(dev), AP_POWER_STATE_S3);
	ap_pwrseq_post_event(dev, AP_PWRSEQ_EVENT_POWER_SIGNAL);
	zassert_equal(ap_pwrseq_get_current_state(dev), AP_POWER_STATE_S0);
	zassert_equal(chipset_s0_run_count, 1);

	zassert_equal(0, power_signal_get(PWR_SLP_SUS));
	zassert_equal(1, power_signal_get(PWR_RSMRST_PWRGD));
	zassert_equal(1, power_signal_get(PWR_DSW_PWROK));
	ap_pwrseq_post_event(dev, AP_PWRSEQ_EVENT_POWER_SHUTDOWN);
	zassert_equal(ap_pwrseq_get_current_state(dev), AP_POWER_STATE_G3);
	zassert_equal(chipset_s0_run_count, 2);

	zassert_equal(1, power_signal_get(PWR_SLP_SUS));
	zassert_equal(0, power_signal_get(PWR_RSMRST_PWRGD));
	zassert_equal(0, power_signal_get(PWR_DSW_PWROK));
}

/**
 * Supporting functions for test
 **/
static int chipset_ap_power_s0_run(void *data)
{
	chipset_s0_run_count++;
	if (ap_pwrseq_sm_is_event_set(data, AP_PWRSEQ_EVENT_POWER_SHUTDOWN)) {
		return ap_pwrseq_sm_set_state(data, AP_POWER_STATE_G3);
	}
	return 0;
}

AP_POWER_CHIPSET_STATE_DEFINE(AP_POWER_STATE_S0, NULL, chipset_ap_power_s0_run,
			      NULL);

static int chipset_ap_power_s3_run(void *data)
{
	if (ap_pwrseq_sm_is_event_set(data, AP_PWRSEQ_EVENT_POWER_SIGNAL)) {
		return ap_pwrseq_sm_set_state(data, AP_POWER_STATE_S0);
	}

	return 0;
}

AP_POWER_CHIPSET_STATE_DEFINE(AP_POWER_STATE_S3, NULL, chipset_ap_power_s3_run,
			      NULL);

static int chipset_ap_power_g3_run(void *data)
{
	return ap_pwrseq_sm_set_state(data, AP_POWER_STATE_S3);
}

AP_POWER_CHIPSET_STATE_DEFINE(AP_POWER_STATE_G3, NULL, chipset_ap_power_g3_run,
			      NULL);

static int x86_non_dsx_adlp_s0ix_run(void *data)
{
	return 0;
}

AP_POWER_CHIPSET_SUB_STATE_DEFINE(AP_POWER_STATE_S0IX, NULL,
				  x86_non_dsx_adlp_s0ix_run, NULL,
				  AP_POWER_STATE_S0);
```

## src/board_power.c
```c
/* Copyright 2025 The ChromiumOS Authors
 * Use of this source code is governed by a BSD-style license that can be
 * found in the LICENSE file.
 *
 * Unit tests for program/dirks/src/board_power.c.
 */
#include <zephyr/drivers/espi.h>
#include <zephyr/drivers/gpio/gpio_emul.h>
#include <zephyr/fff.h>
#include <zephyr/include/emul/emul_power_signals.h>
#include <zephyr/ztest.h>

#include <ap_power_override_functions.h>
#include <common.h>
#include <mock/ap_power_events.h>
#include <mock/power_signals.h>
#include <power_signals.h>

extern bool s0_stable;

int board_power_signal_get(enum power_signal);
int board_power_signal_set(enum power_signal, int);

FAKE_VOID_FUNC(ap_pwrseq_wake);

LOG_MODULE_REGISTER(ap_pwrseq, LOG_LEVEL_INF);

static void before_test(void *fixture)
{
	RESET_FAKE(power_signal_get);
	RESET_FAKE(power_signal_set);
}

ZTEST_SUITE(dirks_board_power, NULL, NULL, before_test, NULL, NULL);

ZTEST(dirks_board_power, test_power_signal_set)
{
	/* No settable signal is board-defined */
	zassert_equal(board_power_signal_set(PWR_EN_PP3300_A, 1), -EINVAL);
}

ZTEST(dirks_board_power, test_power_signal_get)
{
	const struct gpio_dt_spec *all_sys_pwrgd_in =
		GPIO_DT_FROM_NODELABEL(gpio_all_sys_pwrgd);

	/*
	 * ALL_SYS_PWRGD is asserted when SLP_S3 is deasserted, the
	 * corresponding GPIO is asserted, and PG_PP1P05 is asserted.
	 */
	power_signal_get_fake.return_val_seq = (int[]){ 0, 1 };
	power_signal_get_fake.return_val_seq_len = 2;
	zassert_ok(gpio_emul_input_set(all_sys_pwrgd_in->port,
				       all_sys_pwrgd_in->pin, 1));

	zassert_true(board_power_signal_get(PWR_ALL_SYS_PWRGD));
	zassert_equal(power_signal_get_fake.call_count, 2);
	zassert_equal(power_signal_get_fake.arg0_history[0], PWR_SLP_S3);
	zassert_equal(power_signal_get_fake.arg0_history[1], PWR_PG_PP1P05);

	/* PG_PP1P05 going away causes deassertion */
	power_signal_get_fake.return_val_seq = (int[]){ 0, 0 };
	power_signal_get_fake.return_val_seq_idx = 0;
	zassert_false(board_power_signal_get(PWR_ALL_SYS_PWRGD));

	/* all_sys_pwrgd GPIO going away also causes deassertion */
	power_signal_get_fake.return_val_seq_idx = 0;
	zassert_ok(gpio_emul_input_set(all_sys_pwrgd_in->port,
				       all_sys_pwrgd_in->pin, 0));
	zassert_false(board_power_signal_get(PWR_ALL_SYS_PWRGD));

	/* SLP_S3 being asserted also causes deassertion */
	power_signal_get_fake.return_val = 1;
	power_signal_get_fake.return_val_seq_len = 0;
	zassert_false(board_power_signal_get(PWR_ALL_SYS_PWRGD));

	/* Other signals are invalid */
	zassert_equal(board_power_signal_get(PWR_EN_PP3300_A), -EINVAL);
}

static int fake_get_signal_dsw_pwrok_asserted(enum power_signal signal)
{
	return signal == PWR_DSW_PWROK;
}

ZTEST(dirks_board_power, test_g3_s5_action)
{
	/*
	 * DSW_PWROK (PP3300_A power good) is asserted, to be copied to
	 * DSW_PWROK output to SoC. This uses power_wait_signals internally
	 * and may call power_signal_get() many times, so we use a custom fake
	 * rather than specifying a sequence.
	 */
	power_signal_get_fake.custom_fake = fake_get_signal_dsw_pwrok_asserted;

	board_ap_power_action_g3_s5();
	/* Rails were turned on, and DSW_PWROK to SoC asserted */
	zassert_equal(power_signal_set_fake.call_count, 3,
		      "actual call count was %d",
		      power_signal_set_fake.call_count);
	zassert_equal(power_signal_set_fake.arg0_history[0], PWR_EN_PP5000_A);
	zassert_true(power_signal_set_fake.arg1_history[0]);
	zassert_equal(power_signal_set_fake.arg0_history[1], PWR_EN_PP3300_A);
	zassert_true(power_signal_set_fake.arg1_history[1]);
	zassert_equal(power_signal_set_fake.arg0_history[2],
		      PWR_EC_SOC_DSW_PWROK);
	zassert_true(power_signal_set_fake.arg1_history[2]);
}

ZTEST(dirks_board_power, test_rails_enabled)
{
	power_signal_get_fake.return_val = true;
	zassert_true(board_ap_power_check_power_rails_enabled());
	zassert_equal(power_signal_get_fake.call_count, 3);
	zassert_equal(power_signal_get_fake.arg0_history[0], PWR_EN_PP3300_A);
	zassert_equal(power_signal_get_fake.arg0_history[1], PWR_EN_PP5000_A);
	zassert_equal(power_signal_get_fake.arg0_history[2],
		      PWR_EC_SOC_DSW_PWROK);

	power_signal_get_fake.return_val = false;
	zassert_false(board_ap_power_check_power_rails_enabled());
	zassert_equal(power_signal_get_fake.arg0_val, PWR_EN_PP3300_A);
}

ZTEST(dirks_board_power, test_assert_pch_pwrok)
{
	zassert_ok(board_ap_power_assert_pch_power_ok());
	zassert_equal(power_signal_set_fake.arg0_val, PWR_PCH_PWROK);
	zassert_equal(power_signal_set_fake.arg1_val, 1);
}

ZTEST(dirks_board_power, test_s0_entry_exit)
{
	/* Up from S3 simply flags that we're not yet in S0 */
	s0_stable = true;
	board_ap_power_action_s3_s0();
	zassert_false(s0_stable);

	/* Once stable in S0, flag is set */
	board_ap_power_action_s0();
	zassert_true(s0_stable);
	/* Still set if runs again for some reason */
	board_ap_power_action_s0();
	zassert_true(s0_stable);

	/* Back to S3 is no longer S0 */
	board_ap_power_action_s0_s3();
	zassert_false(s0_stable);
}

ZTEST(dirks_board_power, test_force_shutdown)
{
	int signal_get_results[] = {
		1, /* RSMRST_PWRGD still asserted */
		0, /* SLP_SUS also still deasserted */
		0, /* RSMRST_PWRGD deasserted after a short delay */
		1, /* SLP_SUS for logging */
		0, /* RSMRST_PWRGD again for logging */
		1, /* DSW_PWROK still asserted */
		0, /* deasserts after a short delay */
		0, /* again for logging */
	};
	const enum power_signal signal_get_signals[] = {
		PWR_RSMRST_PWRGD, PWR_SLP_SUS,	    PWR_RSMRST_PWRGD,
		PWR_SLP_SUS,	  PWR_RSMRST_PWRGD, PWR_DSW_PWROK,
		PWR_DSW_PWROK,	  PWR_DSW_PWROK,
	};
	BUILD_ASSERT(ARRAY_SIZE(signal_get_results) ==
		     ARRAY_SIZE(signal_get_signals));

	s0_stable = true;
	power_signal_get_fake.return_val_seq = signal_get_results;
	power_signal_get_fake.return_val_seq_len =
		ARRAY_SIZE(signal_get_results);

	board_ap_power_force_shutdown();
	zassert_false(s0_stable);

	/* Turned things off in the expected order */
	zassert_equal(power_signal_set_fake.call_count, 4);
	zassert_mem_equal(
		power_signal_set_fake.arg0_history,
		((enum power_signal[]){ PWR_EC_SOC_DSW_PWROK, PWR_EC_PCH_RSMRST,
					PWR_EN_PP3300_A, PWR_EN_PP5000_A }),
		4);
	zassert_mem_equal(power_signal_set_fake.arg1_history,
			  ((int[]){ 0, 0, 0, 0 }), 4,
			  "Output signals were not only deasserted");

	/*
	 * Signals were read in the expected order (the return values were
	 * treated as intended and not as other unexpected values).
	 */
	zassert_equal(power_signal_get_fake.call_count,
		      ARRAY_SIZE(signal_get_results),
		      "recorded %d calls but expected %d",
		      power_signal_get_fake.call_count,
		      ARRAY_SIZE(signal_get_results));
	zassert_mem_equal(power_signal_get_fake.arg0_history,
			  signal_get_signals, ARRAY_SIZE(signal_get_results));
}
```

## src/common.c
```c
/* Copyright 2025 The ChromiumOS Authors
 * Use of this source code is governed by a BSD-style license that can be
 * found in the LICENSE file.
 */

#include "ap_power/ap_power_events.h"
#include "battery.h"
#include "charger.h"
#include "emul/emul_sm5803.h"
#include "hooks.h"
#include "ocpc.h"
#include "usb_pd.h"

#include <zephyr/drivers/gpio/gpio_emul.h>
#include <zephyr/fff.h>
#include <zephyr/ztest.h>

FAKE_VALUE_FUNC(enum battery_present, battery_is_present);
FAKE_VALUE_FUNC(int, board_set_active_charge_port, int);
FAKE_VALUE_FUNC(uint8_t, board_get_usb_pd_port_count);
FAKE_VALUE_FUNC(int, power_button_is_pressed);

static void suite_before(void *fixture)
{
	RESET_FAKE(battery_is_present);
	RESET_FAKE(board_get_usb_pd_port_count);
	board_get_usb_pd_port_count_fake.return_val = 2;
	RESET_FAKE(board_set_active_charge_port);
	RESET_FAKE(power_button_is_pressed);
}

ZTEST_SUITE(dirks_common, NULL, NULL, suite_before, NULL, NULL);

ZTEST(dirks_common, test_pen_power_control)
{
	const struct gpio_dt_spec *const pen_power =
		GPIO_DT_FROM_NODELABEL(gpio_en_pp5000_pen_x);

	hook_notify(HOOK_INIT);
	zassert_false(gpio_emul_output_get(pen_power->port, pen_power->pin),
		      "Pen power should be off by default");

	ap_power_ev_send_callbacks(AP_POWER_STARTUP);
	zassert_true(gpio_emul_output_get(pen_power->port, pen_power->pin),
		     "Pen power should be on after AP startup");

	ap_power_ev_send_callbacks(AP_POWER_SHUTDOWN);
	zassert_false(gpio_emul_output_get(pen_power->port, pen_power->pin),
		      "Pen power should be off after AP shutdown");
}

ZTEST(dirks_common, test_vconn_swap)
{
	const struct gpio_dt_spec *const dsw_pwrok =
		GPIO_DT_FROM_NODELABEL(gpio_ec_soc_dsw_pwrok);

	/* AP 5V rail is off. */
	zassert_false(gpio_pin_get_dt(dsw_pwrok));
	zassert_false(pd_check_vconn_swap(0));
	zassert_false(pd_check_vconn_swap(1));

	/*
	 * Case with the rail on is untestable because emulated GPIOs don't
	 * allow getting the current value of output pins.
	 */
}

ZTEST(dirks_common, test_ocpc_configuration)
{
	int kp, kp_div;
	int ki, ki_div;
	int kd, kd_div;
	struct ocpc_data ocpc_data = {};

	ocpc_get_pid_constants(&kp, &kp_div, &ki, &ki_div, &kd, &kd_div);

	/*
	 * Only proportional control is used, at 1/32 gain. Gain of integral and
	 * derivative terms is zero.
	 */
	zassert_equal(kp, 1);
	zassert_equal(kp_div, 32);
	zassert_equal(ki, 0);
	zassert_not_equal(ki_div, 0);
	zassert_equal(kd, 0);
	zassert_not_equal(kd_div, 0);

	/* With two chargers, we note that Isys can't be measured. */
	zassert_equal(CONFIG_USB_PD_PORT_MAX_COUNT, 2);
	board_get_usb_pd_port_count_fake.return_val = 2;
	board_ocpc_init(&ocpc_data);
	zassert_equal(ocpc_data.chg_flags[1], OCPC_NO_ISYS_MEAS_CAP);
}

void board_get_battery_cells(void);

ZTEST(dirks_common, test_sm5803_buck_boost_forbidden)
{
	const struct emul *const charger_emul =
		EMUL_DT_GET(DT_NODELABEL(chg_port0));
	int cells;

	/* Default 2S PMODE allows 12V charging. */
	zassert_ok(charger_get_battery_cells(0, &cells));
	zassert_equal(cells, 2);
	zassert_true(pd_is_valid_input_voltage(12000));

	/* 3S forbids 12V charging. */
	sm5803_emul_set_pmode(charger_emul, 0x16 /* 3S, 1.5A with BFET */);
	zassert_ok(charger_get_battery_cells(0, &cells));
	zassert_equal(cells, 3);
	board_get_battery_cells(); /* Refresh cached cell count */
	zassert_false(pd_is_valid_input_voltage(12000));
}

ZTEST(dirks_common, test_i2c_passthru_policy)
{
	/* Type-C ports are allowed */
	zassert_true(board_allow_i2c_passthru(&(struct i2c_cmd_desc_t){
		.port = I2C_PORT_USB_C0_TCPC,
	}));
	zassert_true(board_allow_i2c_passthru(&(struct i2c_cmd_desc_t){
		.port = I2C_PORT_USB_C1_TCPC,
	}));

	/* Others are not */
	zassert_false(board_allow_i2c_passthru(&(struct i2c_cmd_desc_t){
		.port = I2C_PORT_BATTERY,
	}));
}
```

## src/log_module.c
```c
/* Copyright 2025 The ChromiumOS Authors
 * Use of this source code is governed by a BSD-style license that can be
 * found in the LICENSE file.
 */

#include <zephyr/logging/log.h>

LOG_MODULE_REGISTER(dirks, CONFIG_DIRKS_LOG_LEVEL);
```

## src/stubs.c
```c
/* Copyright 2025 The ChromiumOS Authors
 * Use of this source code is governed by a BSD-style license that can be
 * found in the LICENSE file.
 *
 * Function stubs needed for building Dirks board code, but that aren't
 * meaningful to testing.
 */

#include "common.h"

#include <zephyr/fff.h>

__overridable void pd_power_supply_reset(int port)
{
}

__overridable int pd_set_power_supply_ready(int port)
{
	return 0;
}

__overridable void pd_set_input_current_limit(int port, uint32_t max_ma,
					      uint32_t supply_voltage)
{
}

__overridable int pd_check_vconn_swap(int port)
{
	return 0;
}

__overridable void usb_interrupt_c0(enum gpio_signal signal)
{
}
```

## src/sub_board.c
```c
/* Copyright 2025 The ChromiumOS Authors
 * Use of this source code is governed by a BSD-style license that can be
 * found in the LICENSE file.
 *
 * Unit tests for program/dirks/src/sub_board.c.
 */
#include "cros_cbi.h"
#include "dirks_hdmi.h"
#include "dirks_sub_board.h"
#include "hooks.h"
#include "usb_pd.h"

#include <zephyr/drivers/gpio/gpio_emul.h>
#include <zephyr/fff.h>
#include <zephyr/kernel.h>
#include <zephyr/ztest.h>

#include <ap_power/ap_power.h>
#include <ap_power/ap_power_events.h>

FAKE_VALUE_FUNC(int, cros_cbi_get_fw_config, enum cbi_fw_config_field_id,
		uint32_t *);
FAKE_VOID_FUNC(usb_interrupt_c1, enum gpio_signal);

/*
 * Private bits of board code that are visible for testing.
 *
 * The cached sub-board ID needs to be cleared by tests so we can run multiple
 * tests per process, and usb_pd_count_init() needs to run following each update
 * of reported sub-board.
 */
extern enum nissa_sub_board_type nissa_cached_sub_board;
void board_usb_pd_count_init(void);

/* Shim GPIO initialization from devicetree. */
int init_gpios(const struct device *unused);

static uint32_t fw_config_value;

/** Set the value of the CBI fw_config field returned by the fake. */
static void set_fw_config_value(uint32_t value)
{
	fw_config_value = value;
	board_usb_pd_count_init();
}

/** Custom fake for cros_cgi_get_fw_config(). */
static int get_fake_fw_config_field(enum cbi_fw_config_field_id field_id,
				    uint32_t *value)
{
	*value = fw_config_value;
	return 0;
}

#define ASSERT_GPIO_FLAGS(spec, expected)                                  \
	do {                                                               \
		gpio_flags_t flags;                                        \
		zassert_ok(gpio_emul_flags_get((spec)->port, (spec)->pin,  \
					       &flags));                   \
		zassert_equal(flags, expected,                             \
			      "actual value was %#x; expected %#x", flags, \
			      expected);                                   \
	} while (0)

static int get_gpio_output(const struct gpio_dt_spec *const spec)
{
	return gpio_emul_output_get(spec->port, spec->pin);
}

struct dirks_sub_board_fixture {
	const struct gpio_dt_spec *sb_1;
	const struct gpio_dt_spec *sb_2;
	const struct gpio_dt_spec *sb_3;
	const struct gpio_dt_spec *sb_4;
};

static void *suite_setup_fn()
{
	struct dirks_sub_board_fixture *fixture =
		k_malloc(sizeof(struct dirks_sub_board_fixture));

	zassert_not_null(fixture);
	fixture->sb_1 = GPIO_DT_FROM_NODELABEL(gpio_sb_1);
	fixture->sb_2 = GPIO_DT_FROM_NODELABEL(gpio_sb_2);
	fixture->sb_3 = GPIO_DT_FROM_NODELABEL(gpio_sb_3);
	fixture->sb_4 = GPIO_DT_FROM_NODELABEL(gpio_sb_4);

	return fixture;
}

static void test_before_fn(void *fixture_)
{
	struct dirks_sub_board_fixture *fixture = fixture_;

	/* Reset cached global state. */
	nissa_cached_sub_board = NISSA_SB_UNKNOWN;
	fw_config_value = -1;

	/* Return the fake fw_config value. */
	RESET_FAKE(cros_cbi_get_fw_config);
	cros_cbi_get_fw_config_fake.custom_fake = get_fake_fw_config_field;

	/* Unconfigure sub-board GPIOs. */
	gpio_pin_configure_dt(fixture->sb_1, GPIO_DISCONNECTED);
	gpio_pin_configure_dt(fixture->sb_2, GPIO_DISCONNECTED);
	gpio_pin_configure_dt(fixture->sb_3, GPIO_DISCONNECTED);
	gpio_pin_configure_dt(fixture->sb_4, GPIO_DISCONNECTED);
	/* Reset C1 interrupt to deasserted. */
	gpio_emul_input_set(fixture->sb_1->port, fixture->sb_1->pin, 1);

	RESET_FAKE(usb_interrupt_c1);
}

ZTEST_SUITE(dirks_sub_board, NULL, suite_setup_fn, test_before_fn, NULL, NULL);

ZTEST_F(dirks_sub_board, test_usb_c_a)
{
	/* Set the sub-board, reported configuration is correct. */
	set_fw_config_value(FW_SUB_BOARD_1);
	zassert_equal(nissa_get_sb_type(), NISSA_SB_C_A);
	zassert_equal(board_get_usb_pd_port_count(), 2);

	/* Should have fetched CBI exactly once, asking for the sub-board. */
	zassert_equal(cros_cbi_get_fw_config_fake.call_count, 1);
	zassert_equal(cros_cbi_get_fw_config_fake.arg0_history[0],
		      FW_SUB_BOARD);

	/* Run IO configuration in init. */
	init_gpios(NULL);
	hook_notify(HOOK_INIT);

	/* Check that the sub-board GPIOs are configured correctly. */
	ASSERT_GPIO_FLAGS(fixture->sb_2 /* A1 VBUS enable */, GPIO_OUTPUT);
	ASSERT_GPIO_FLAGS(fixture->sb_1 /* C1 interrupt */,
			  GPIO_INPUT | GPIO_PULL_UP | GPIO_INT_EDGE_FALLING);

	/* USB-C1 interrupt is handled. */
	RESET_FAKE(usb_interrupt_c1);
	gpio_emul_input_set(fixture->sb_1->port, fixture->sb_1->pin, 0);
	zassert_equal(usb_interrupt_c1_fake.call_count, 1,
		      "usb_interrupt was called %d times",
		      usb_interrupt_c1_fake.call_count);
}

ZTEST_F(dirks_sub_board, test_usb_c_lte)
{
	set_fw_config_value(FW_SUB_BOARD_2);
	zassert_equal(nissa_get_sb_type(), NISSA_SB_C_LTE);
	zassert_equal(board_get_usb_pd_port_count(), 2);

	init_gpios(NULL);
	hook_notify(HOOK_INIT);

	/* GPIOs are configured as expected. */
	ASSERT_GPIO_FLAGS(fixture->sb_2 /* Standby power enable */,
			  GPIO_OUTPUT | GPIO_OUTPUT_INIT_LOW);
	ASSERT_GPIO_FLAGS(fixture->sb_1 /* C1 interrupt */,
			  GPIO_INPUT | GPIO_PULL_UP | GPIO_INT_EDGE_FALLING);

	/* USB interrupt is handled. */
	RESET_FAKE(usb_interrupt_c1);
	gpio_emul_input_set(fixture->sb_1->port, fixture->sb_1->pin, 0);
	zassert_equal(usb_interrupt_c1_fake.call_count, 1,
		      "usb_interrupt was called %d times",
		      usb_interrupt_c1_fake.call_count);

	/* LTE power gets enabled on S5. */
	ap_power_ev_send_callbacks(AP_POWER_PRE_INIT);
	zassert_equal(get_gpio_output(fixture->sb_2), 1);
	/* And disabled on G3. */
	ap_power_ev_send_callbacks(AP_POWER_HARD_OFF);
	zassert_equal(get_gpio_output(fixture->sb_2), 0);
}

ZTEST_F(dirks_sub_board, test_usb_a_hdmi)
{
	set_fw_config_value(FW_SUB_BOARD_3);
	zassert_equal(nissa_get_sb_type(), NISSA_SB_HDMI_A);
	zassert_equal(board_get_usb_pd_port_count(), 1);

	init_gpios(NULL);
	hook_notify(HOOK_INIT);

	/* USB-A controls are enabled. */
	ASSERT_GPIO_FLAGS(fixture->sb_2 /* A1 VBUS enable */, GPIO_OUTPUT);

	/*
	 * HDMI IOs configured as expected. The HDMI power enable and DDC select
	 * pins are impossible to test because emulated GPIOs don't support
	 * open-drain mode, so this only checks HPD.
	 */
	ASSERT_GPIO_FLAGS(fixture->sb_4,
			  GPIO_INPUT | GPIO_ACTIVE_LOW | GPIO_INT_EDGE_BOTH);

	/* Power events adjust HDMI port power as expected. */
	ap_power_ev_send_callbacks(AP_POWER_PRE_INIT);
	zassert_equal(get_gpio_output(GPIO_DT_FROM_NODELABEL(gpio_hdmi_sel)),
		      1);
	ap_power_ev_send_callbacks(AP_POWER_STARTUP);
	ap_power_ev_send_callbacks(AP_POWER_SHUTDOWN);
	ap_power_ev_send_callbacks(AP_POWER_HARD_OFF);
	zassert_equal(get_gpio_output(GPIO_DT_FROM_NODELABEL(gpio_hdmi_sel)),
		      0);

	/* HPD input gets copied through to the output, and inverted. */
	gpio_emul_input_set(fixture->sb_4->port, fixture->sb_4->pin, 1);
	zassert_equal(
		get_gpio_output(GPIO_DT_FROM_NODELABEL(gpio_ec_soc_hdmi_hpd)),
		0);
	gpio_emul_input_set(fixture->sb_4->port, fixture->sb_4->pin, 0);
	zassert_equal(
		get_gpio_output(GPIO_DT_FROM_NODELABEL(gpio_ec_soc_hdmi_hpd)),
		1);
}

ZTEST(dirks_sub_board, test_unset_board)
{
	/* fw_config with an unset sub-board means none is present. */
	set_fw_config_value(0);
	zassert_equal(nissa_get_sb_type(), NISSA_SB_NONE);
	zassert_equal(board_get_usb_pd_port_count(), 1);
}

static int get_fw_config_error(enum cbi_fw_config_field_id field,
			       uint32_t *value)
{
	return EC_ERROR_UNKNOWN;
}

ZTEST(dirks_sub_board, test_cbi_error)
{
	/*
	 * Reading fw_config from CBI returns an error, so sub-board is treated
	 * as absent.
	 */
	cros_cbi_get_fw_config_fake.custom_fake = get_fw_config_error;
	zassert_equal(nissa_get_sb_type(), NISSA_SB_NONE);
}

/** Override default HDMI configuration to exercise the power enable as well. */
__override void nissa_configure_hdmi_power_gpios(void)
{
	nissa_configure_hdmi_rails();
	nissa_configure_hdmi_vcc();
}
```
